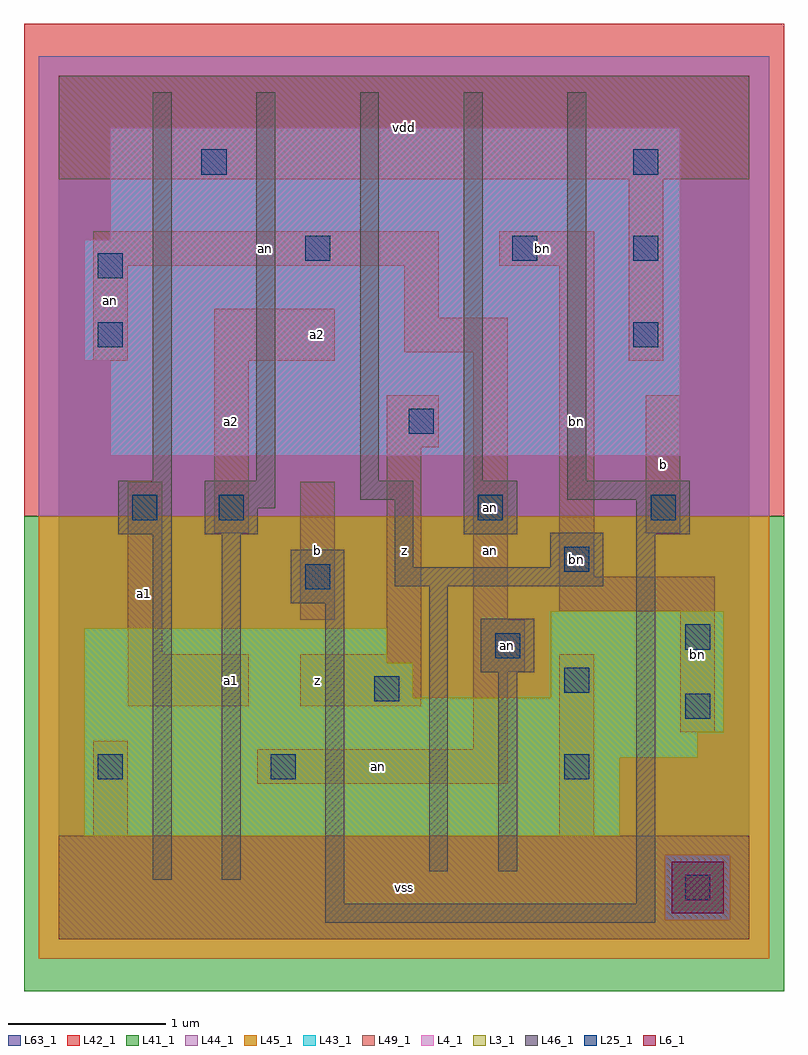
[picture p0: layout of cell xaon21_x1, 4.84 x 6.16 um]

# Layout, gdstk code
import gdstk
lib = gdstk.Library(unit=1e-6, precision=1e-09)
def R(c, l, rs):  # rectangles x0, y0, x1, y1
    for r in rs: c.add(gdstk.rectangle(r[:2], r[2:], *l))
def A(c, l, x, y, w, h, nx, ny, dx, dy):  # array of equal rectangles
    R(c, l, [(x+i*dx, y+j*dy, x+i*dx+w, y+j*dy+h) for i in range(nx) for j in range(ny)])
L3_1 = (3, 1)
L4_1 = (4, 1)
L6_1 = (6, 1)
L25_1 = (25, 1)
L41_1 = (41, 1)
L42_1 = (42, 1)
L43_1 = (43, 1)
L44_1 = (44, 1)
L45_1 = (45, 1)
L46_1 = (46, 1)
L49_1 = (49, 1)
L63_1 = (63, 1)

xaon21_x1 = lib.new_cell('xaon21_x1')
R(xaon21_x1, L3_1, [(0.165,0.66,3.575,1.155), (0.165,1.155,4.07,1.32), (0.165,1.32,4.235,1.54), (0.165,1.54,2.255,1.76), (3.135,1.54,4.235,2.09), (0.165,1.76,2.09,1.98)])
R(xaon21_x1, L4_1, [(0.33,3.08,3.96,3.685), (0.165,3.685,3.96,4.455), (0.33,4.455,3.96,5.17)])
R(xaon21_x1, L6_1, [(3.905,0.165,4.235,0.495)])
A(xaon21_x1, L25_1, 3.66, 3.77, 0.16, 0.16, 1, 3, 0, 0.55)
R(xaon21_x1, L25_1, [(3.99,0.25,4.15,0.41), (0.25,1.02,0.41,1.18), (1.35,1.02,1.51,1.18), (3.22,1.02,3.38,1.18), (3.99,1.405,4.15,1.565), (2.01,1.515,2.17,1.675), (3.22,1.57,3.38,1.73), (2.78,1.79,2.94,1.95), (3.99,1.845,4.15,2.005), (1.57,2.23,1.73,2.39), (3.22,2.34,3.38,2.5), (0.47,2.67,0.63,2.83), (1.02,2.67,1.18,2.83), (2.67,2.67,2.83,2.83), (3.77,2.67,3.93,2.83), (2.23,3.22,2.39,3.38), (0.25,3.77,0.41,3.93), (0.25,4.21,0.41,4.37), (1.57,4.32,1.73,4.48), (2.89,4.32,3.05,4.48), (0.91,4.87,1.07,5.03)])
R(xaon21_x1, L41_1, [(-0.22,-0.33,4.62,2.695)])
R(xaon21_x1, L42_1, [(-0.22,2.695,4.62,5.83)])
R(xaon21_x1, L43_1, [(3.905,0.165,4.235,0.495), (0.165,0.66,3.575,1.155), (0.165,1.155,4.07,1.32), (0.165,1.32,4.235,1.54), (0.165,1.54,2.255,1.76), (3.135,1.54,4.235,2.09), (0.165,1.76,2.09,1.98), (0.33,3.08,3.96,3.685), (0.165,3.685,3.96,4.455), (0.33,4.455,3.96,5.17)])
R(xaon21_x1, L44_1, [(3.865,0.125,4.275,0.535), (-0.125,2.695,4.525,5.625)])
R(xaon21_x1, L45_1, [(-0.125,-0.125,4.525,0.125), (-0.125,0.125,3.865,0.535), (4.275,0.125,4.525,0.535), (-0.125,0.535,4.525,2.695)])
A(xaon21_x1, L46_1, 0.6, 2.92, 0.12, 2.475, 5, 1, 0.66, 0)
R(xaon21_x1, L46_1, [(1.7,0.105,3.8,0.225), (1.7,0.225,1.82,2.14), (3.68,0.225,3.8,2.58), (0.6,0.38,0.72,2.58), (1.04,0.38,1.16,2.58), (2.36,0.435,2.48,2.25), (2.8,0.435,2.92,1.7), (2.69,1.7,3.03,2.04), (1.48,2.14,1.82,2.48), (2.14,2.25,3.47,2.37), (2.14,2.37,2.26,2.8), (3.13,2.37,3.47,2.59), (0.38,2.58,0.72,2.92), (0.93,2.58,1.27,2.745), (2.58,2.58,2.92,2.92), (3.68,2.58,4.02,2.8), (0.93,2.745,1.38,2.92), (1.92,2.8,2.26,2.92), (3.24,2.8,4.02,2.92)])
R(xaon21_x1, L49_1, [(0,0,4.4,0.66), (0.22,0.66,0.44,1.265), (3.19,0.66,3.41,1.815), (1.265,0.99,2.86,1.21), (2.64,1.21,2.86,1.705), (3.96,1.32,4.18,2.09), (0.44,1.485,1.21,1.815), (1.54,1.485,2.31,1.815), (2.64,1.705,2.97,2.035), (0.44,1.815,0.66,2.915), (2.09,1.815,2.31,3.135), (1.54,2.035,1.76,2.915), (2.64,2.035,2.86,3.74), (3.19,2.09,4.18,2.31), (3.19,2.31,3.41,4.29), (0.99,2.585,1.21,3.685), (3.74,2.585,3.96,3.465), (2.09,3.135,2.42,3.465), (0.22,3.685,0.44,4.29), (0.99,3.685,1.76,4.015), (3.63,3.685,3.85,4.84), (2.2,3.74,2.86,3.96), (2.2,3.96,2.42,4.29), (0.22,4.29,2.42,4.51), (2.805,4.29,3.41,4.51), (0,4.84,4.4,5.5)])
R(xaon21_x1, L63_1, [(0,0,4.4,5.5)])
xaon21_x1.add(gdstk.Label('an', (2.86,1.87), layer=49, texttype=1))
xaon21_x1.add(gdstk.Label('an', (2.75,2.75), layer=49, texttype=1))
xaon21_x1.add(gdstk.Label('bn', (3.3,2.42), layer=49, texttype=1))
xaon21_x1.add(gdstk.Label('a1', (0.55,2.2), layer=49, texttype=1))
xaon21_x1.add(gdstk.Label('a1', (0.55,2.2), layer=49, texttype=1))
xaon21_x1.add(gdstk.Label('an', (0.33,4.07), layer=49, texttype=1))
xaon21_x1.add(gdstk.Label('a1', (1.1,1.65), layer=49, texttype=1))
xaon21_x1.add(gdstk.Label('a1', (1.1,1.65), layer=49, texttype=1))
xaon21_x1.add(gdstk.Label('a2', (1.1,3.3), layer=49, texttype=1))
xaon21_x1.add(gdstk.Label('a2', (1.1,3.3), layer=49, texttype=1))
xaon21_x1.add(gdstk.Label('vss', (2.2,0.33), layer=49, texttype=1))
xaon21_x1.add(gdstk.Label('vss', (2.2,0.33), layer=49, texttype=1))
xaon21_x1.add(gdstk.Label('z', (1.65,1.65), layer=49, texttype=1))
xaon21_x1.add(gdstk.Label('z', (1.65,1.65), layer=49, texttype=1))
xaon21_x1.add(gdstk.Label('b', (1.65,2.475), layer=49, texttype=1))
xaon21_x1.add(gdstk.Label('b', (1.65,2.475), layer=49, texttype=1))
xaon21_x1.add(gdstk.Label('z', (2.2,2.475), layer=49, texttype=1))
xaon21_x1.add(gdstk.Label('z', (2.2,2.475), layer=49, texttype=1))
xaon21_x1.add(gdstk.Label('a2', (1.65,3.85), layer=49, texttype=1))
xaon21_x1.add(gdstk.Label('a2', (1.65,3.85), layer=49, texttype=1))
xaon21_x1.add(gdstk.Label('an', (1.32,4.4), layer=49, texttype=1))
xaon21_x1.add(gdstk.Label('vdd', (2.2,5.17), layer=49, texttype=1))
xaon21_x1.add(gdstk.Label('vdd', (2.2,5.17), layer=49, texttype=1))
xaon21_x1.add(gdstk.Label('an', (2.035,1.1), layer=49, texttype=1))
xaon21_x1.add(gdstk.Label('an', (2.75,2.475), layer=49, texttype=1))
xaon21_x1.add(gdstk.Label('bn', (3.08,4.4), layer=49, texttype=1))
xaon21_x1.add(gdstk.Label('bn', (3.3,3.3), layer=49, texttype=1))
xaon21_x1.add(gdstk.Label('bn', (4.07,1.815), layer=49, texttype=1))
xaon21_x1.add(gdstk.Label('b', (3.85,3.025), layer=49, texttype=1))
xaon21_x1.add(gdstk.Label('b', (3.85,3.025), layer=49, texttype=1))

lib.write_gds('xaon21_x1.gds')
